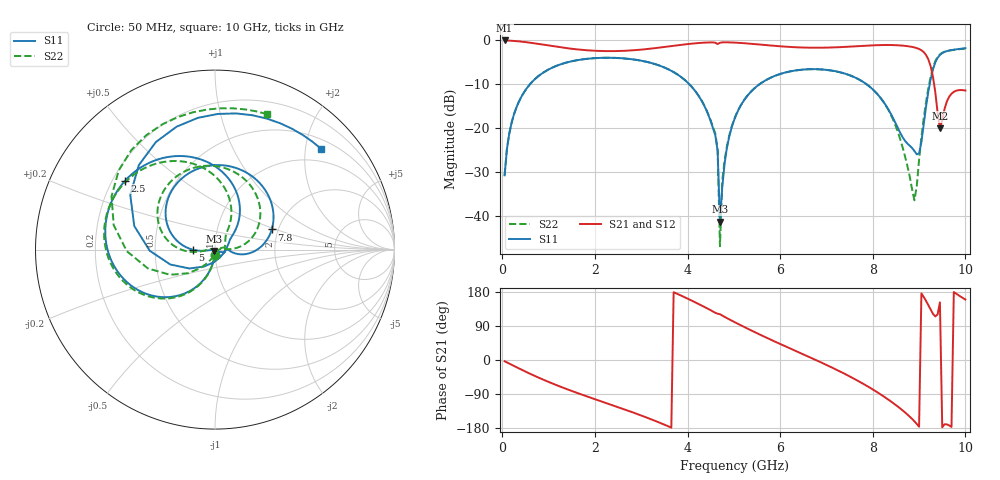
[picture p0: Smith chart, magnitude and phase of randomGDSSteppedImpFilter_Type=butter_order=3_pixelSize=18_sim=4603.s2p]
! freq	dB(S11)	phase(S11)	dB(S12)	phase(S12)
!  dB(S21)	phase(S21)	dB(S22)	phase(S22)
!S-par simulation data
#  GHz  S  DB  R 50
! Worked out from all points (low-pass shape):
!   200 points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, 50 MHz to 10 GHz, reference 50 ohm
!   highest |S21| = -0.01 dB at 50 MHz (marker M1); lowest = -19.9 dB at 9.45 GHz (marker M2)
!   |S21| within 3 dB of the highest: start of sweep to 9.128 GHz
!   lowest |S11| = -41.2 dB at 4.7 GHz (marker M3), VSWR 1.02, Z = 49.6 - j0.749 ohm
!   |S11| at or under -10 dB: start of sweep to 594.6 MHz; 4.042 GHz to 5.549 GHz (1.506 GHz wide, 31.4 % of centre); 7.871 GHz to 9.229 GHz (1.358 GHz wide, 15.9 % of centre)
!   |S22| runs from -46.7 to -1.8 dB; largest |S21 - S12| = 0
!   S11 on the Smith chart (normalised r, x): 50 MHz: 0.99, -0.06; 2.5 GHz: 0.25, +0.32; 5 GHz: 0.78, -0.00; 7.8 GHz: 1.85, +0.47; 10 GHz: 0.70, +2.34
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0.05  -30.64 -93.3  -0.01 -3.2  -0.01 -3.2  -30.64 -93.2
0.2  -18.75 -103.2  -0.08 -12.5  -0.08 -12.5  -18.75 -102.8
0.5  -11.29 -121.6  -0.38 -30.6  -0.38 -30.6  -11.29 -120.6
1.75  -4.28 175.0  -2.17 -92.7  -2.17 -92.7  -4.28 178.6
2.5  -4.00 142.5  -2.41 -124.5  -2.41 -124.5  -4.00 147.9
3.4  -5.74 100.7  -1.62 -165.5  -1.62 -165.5  -5.73 108.9
4.15  -11.29 59.5  -0.67 153.2  -0.67 153.2  -11.27 71.6
4.6  -21.54 24.6  -0.52 124.4  -0.52 124.4  -21.13 48.3
4.65  -25.09 -16.9  -0.83 122.3  -0.83 122.3  -24.88 13.6
4.7  -41.20 -119.9  -0.54 120.8  -0.54 120.8  -46.74 163.0
4.75  -33.36 -173.4  -0.44 117.2  -0.44 117.2  -31.91 172.3
5  -18.25 -179.6  -0.49 100.9  -0.49 100.9  -18.14 -173.8
5.05  -16.90 177.8  -0.51 97.8  -0.51 97.8  -16.82 -175.4
5.9  -7.99 129.1  -1.25 47.9  -1.25 47.9  -8.00 142.9
6.7  -6.52 84.5  -1.66 3.9  -1.66 3.9  -6.54 102.3
7.8  -9.48 19.6  -1.23 -63.2  -1.23 -63.2  -9.48 41.3
8.35  -15.92 -9.5  -1.04 -105.7  -1.04 -105.7  -16.06 8.8
8.9  -25.13 -9.2  -1.59 -161.9  -1.59 -161.9  -36.33 -34.1
9  -25.66 -59.2  -1.95 -176.1  -1.95 -176.1  -27.14 -105.4
9.2  -11.63 -161.5  -4.31 144.7  -4.31 144.7  -10.83 -150.7
9.45  -3.30 118.8  -19.93 152.1  -19.93 152.1  -3.17 140.6
10  -1.77 43.3  -11.38 159.4  -11.38 159.4  -1.84 69.1
